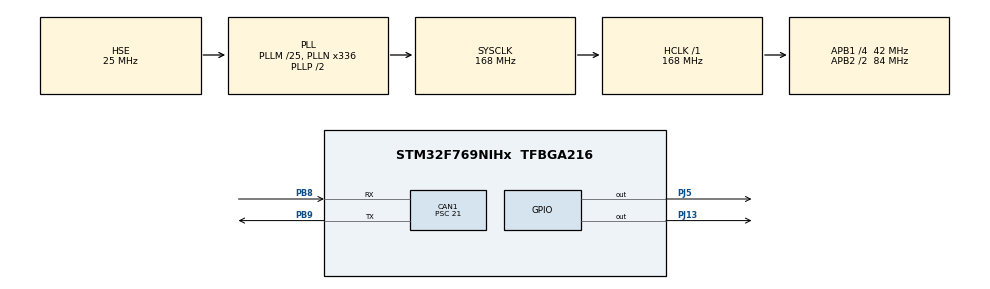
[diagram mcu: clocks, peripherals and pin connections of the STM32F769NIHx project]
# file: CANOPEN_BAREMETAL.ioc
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CAN1.BS1=CAN_BS1_14TQ
CAN1.BS2=CAN_BS2_5TQ
CAN1.CalculateBaudRate=100000
CAN1.CalculateTimeBit=10000
CAN1.CalculateTimeQuantum=500.0
CAN1.Prescaler=21
Mcu.Family=STM32F7
Mcu.Name=STM32F769NIHx
Mcu.Package=TFBGA216
NVIC.CAN1_RX0_IRQn=true\:0\:0\:false\:false\:true\:true\:true\:true
NVIC.CAN1_RX1_IRQn=true\:0\:0\:false\:false\:true\:true\:true\:true
NVIC.CAN1_SCE_IRQn=true\:0\:0\:false\:false\:true\:true\:true\:true
NVIC.CAN1_TX_IRQn=true\:0\:0\:false\:false\:true\:true\:true\:true
NVIC.PriorityGroup=NVIC_PRIORITYGROUP_4
NVIC.TIM8_TRG_COM_TIM14_IRQn=true\:0\:0\:false\:false\:true\:true\:true\:true
PB8.Mode=CAN_Activate
PB8.Signal=CAN1_RX
PB9.Mode=CAN_Activate
PB9.Signal=CAN1_TX
PH0/OSC_IN.Mode=HSE-External-Oscillator
PH0/OSC_IN.Signal=RCC_OSC_IN
PH1/OSC_OUT.Mode=HSE-External-Oscillator
PH1/OSC_OUT.Signal=RCC_OSC_OUT
PJ13.Signal=GPIO_Output
PJ5.Signal=GPIO_Output
ProjectManager.HeapSize=0x200
ProjectManager.StackSize=0x400
ProjectManager.TargetToolchain=STM32CubeIDE
RCC.AHBFreq_Value=168000000
RCC.APB1CLKDivider=RCC_HCLK_DIV4
RCC.APB1Freq_Value=42000000
RCC.APB1TimFreq_Value=84000000
RCC.APB2CLKDivider=RCC_HCLK_DIV2
RCC.APB2Freq_Value=84000000
RCC.APB2TimFreq_Value=168000000
RCC.CortexFreq_Value=168000000
RCC.HCLKFreq_Value=168000000
RCC.HSE_VALUE=25000000
RCC.HSI_VALUE=16000000
RCC.LSE_VALUE=32768
RCC.PLL48CLockSelection=RCC_CLK48SOURCE_PLLSAIP
RCC.PLLM=25
RCC.PLLN=336
RCC.PLLQ=4
RCC.PLLSAIP=RCC_PLLSAIP_DIV4
RCC.PLLSAIQ=3
RCC.PLLSourceVirtual=RCC_PLLSOURCE_HSE
RCC.SDMMC2ClockSelection=RCC_SDMMC2CLKSOURCE_CLK48
RCC.SYSCLKFreq_VALUE=168000000
RCC.SYSCLKSource=RCC_SYSCLKSOURCE_PLLCLK
RCC.USBFreq_Value=48000000
RCC.VCOOutputFreq_Value=336000000
TIM14.Period=1000
TIM14.Prescaler=83
VP_TIM14_VS_ClockSourceINT.Mode=Enable_Timer
board=STM32F769I-DISCO

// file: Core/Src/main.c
/* USER CODE BEGIN Header */
/**
  ******************************************************************************
  * @file           : main.c
  * @brief          : Main program body
  ******************************************************************************
  * @attention
  *
  * Copyright (c) 2025 STMicroelectronics.
  * All rights reserved.
  *
  * This software is licensed under terms that can be found in the LICENSE file
  * in the root directory of this software component.
  * If no LICENSE file comes with this software, it is provided AS-IS.
  *
  ******************************************************************************
  */
/* USER CODE END Header */
#include "main.h"

/* USER CODE BEGIN Includes */
  #include "CO_app_STM32.h"
/* USER CODE END Includes */

CAN_HandleTypeDef hcan1;

TIM_HandleTypeDef htim14;

void SystemClock_Config(void);
static void MX_GPIO_Init(void);
static void MX_CAN1_Init(void);
static void MX_TIM14_Init(void);

int main(void)
{

  /* MCU Configuration--------------------------------------------------------*/

  /* Reset of all peripherals, Initializes the Flash interface and the Systick. */
  HAL_Init();

  /* Configure the system clock */
  SystemClock_Config();

  /* Initialize all configured peripherals */
  MX_GPIO_Init();
  MX_CAN1_Init();
  MX_TIM14_Init();
  /* USER CODE BEGIN 2 */
  CANopenNodeSTM32 canOpenNodeSTM32;
  canOpenNodeSTM32.CANHandle = &hcan1;
  canOpenNodeSTM32.HWInitFunction = MX_CAN1_Init;
  canOpenNodeSTM32.timerHandle = &htim14;
  canOpenNodeSTM32.desiredNodeID = 1;
  canOpenNodeSTM32.baudrate = 100;
  canopen_app_init(&canOpenNodeSTM32);
  /* USER CODE END 2 */

  /* Infinite loop */
  while (1)
  {
		HAL_GPIO_WritePin(GPIOJ, GPIO_PIN_5, canOpenNodeSTM32.outStatusLEDGreen);
		HAL_GPIO_WritePin(GPIOJ, GPIO_PIN_13, canOpenNodeSTM32.outStatusLEDRed);
	  canopen_app_process();
  }
}

void SystemClock_Config(void)
{
  RCC_OscInitTypeDef RCC_OscInitStruct = {0};
  RCC_ClkInitTypeDef RCC_ClkInitStruct = {0};

  /** Configure the main internal regulator output voltage
  */
  __HAL_RCC_PWR_CLK_ENABLE();
  __HAL_PWR_VOLTAGESCALING_CONFIG(PWR_REGULATOR_VOLTAGE_SCALE2);

  /** Initializes the RCC Oscillators according to the specified parameters
  * in the RCC_OscInitTypeDef structure.
  */
  RCC_OscInitStruct.OscillatorType = RCC_OSCILLATORTYPE_HSE;
  RCC_OscInitStruct.HSEState = RCC_HSE_ON;
  RCC_OscInitStruct.PLL.PLLState = RCC_PLL_ON;
  RCC_OscInitStruct.PLL.PLLSource = RCC_PLLSOURCE_HSE;
  RCC_OscInitStruct.PLL.PLLM = 25;
  RCC_OscInitStruct.PLL.PLLN = 336;
  RCC_OscInitStruct.PLL.PLLP = RCC_PLLP_DIV2;
  RCC_OscInitStruct.PLL.PLLQ = 4;
  RCC_OscInitStruct.PLL.PLLR = 2;
  if (HAL_RCC_OscConfig(&RCC_OscInitStruct) != HAL_OK)
  {
    Error_Handler();
  }

  /** Initializes the CPU, AHB and APB buses clocks
  */
  RCC_ClkInitStruct.ClockType = RCC_CLOCKTYPE_HCLK|RCC_CLOCKTYPE_SYSCLK
                              |RCC_CLOCKTYPE_PCLK1|RCC_CLOCKTYPE_PCLK2;
  RCC_ClkInitStruct.SYSCLKSource = RCC_SYSCLKSOURCE_PLLCLK;
  RCC_ClkInitStruct.AHBCLKDivider = RCC_SYSCLK_DIV1;
  RCC_ClkInitStruct.APB1CLKDivider = RCC_HCLK_DIV4;
  RCC_ClkInitStruct.APB2CLKDivider = RCC_HCLK_DIV2;

  if (HAL_RCC_ClockConfig(&RCC_ClkInitStruct, FLASH_LATENCY_5) != HAL_OK)
  {
    Error_Handler();
  }
}

static void MX_CAN1_Init(void)
{

  hcan1.Instance = CAN1;
  hcan1.Init.Prescaler = 21;
  hcan1.Init.Mode = CAN_MODE_LOOPBACK;
  hcan1.Init.SyncJumpWidth = CAN_SJW_1TQ;
  hcan1.Init.TimeSeg1 = CAN_BS1_14TQ;
  hcan1.Init.TimeSeg2 = CAN_BS2_5TQ;
  hcan1.Init.TimeTriggeredMode = DISABLE;
  hcan1.Init.AutoBusOff = DISABLE;
  hcan1.Init.AutoWakeUp = DISABLE;
  hcan1.Init.AutoRetransmission = DISABLE;
  hcan1.Init.ReceiveFifoLocked = DISABLE;
  hcan1.Init.TransmitFifoPriority = DISABLE;
  if (HAL_CAN_Init(&hcan1) != HAL_OK)
  {
    Error_Handler();
  }

}

static void MX_TIM14_Init(void)
{

  htim14.Instance = TIM14;
  htim14.Init.Prescaler = 83;
  htim14.Init.CounterMode = TIM_COUNTERMODE_UP;
  htim14.Init.Period = 1000;
  htim14.Init.ClockDivision = TIM_CLOCKDIVISION_DIV1;
  htim14.Init.AutoReloadPreload = TIM_AUTORELOAD_PRELOAD_DISABLE;
  if (HAL_TIM_Base_Init(&htim14) != HAL_OK)
  {
    Error_Handler();
  }

}

static void MX_GPIO_Init(void)
{
  GPIO_InitTypeDef GPIO_InitStruct = {0};

  /* GPIO Ports Clock Enable */
  __HAL_RCC_GPIOB_CLK_ENABLE();
  __HAL_RCC_GPIOJ_CLK_ENABLE();
  __HAL_RCC_GPIOH_CLK_ENABLE();

  /*Configure GPIO pin Output Level */
  HAL_GPIO_WritePin(GPIOJ, GPIO_PIN_13|GPIO_PIN_5, GPIO_PIN_RESET);

  /*Configure GPIO pins : PJ13 PJ5 */
  GPIO_InitStruct.Pin = GPIO_PIN_13|GPIO_PIN_5;
  GPIO_InitStruct.Mode = GPIO_MODE_OUTPUT_PP;
  GPIO_InitStruct.Pull = GPIO_NOPULL;
  GPIO_InitStruct.Speed = GPIO_SPEED_FREQ_LOW;
  HAL_GPIO_Init(GPIOJ, &GPIO_InitStruct);

}

/* USER CODE BEGIN 4 */

void HAL_TIM_PeriodElapsedCallback(TIM_HandleTypeDef *htim)
{
  /* USER CODE BEGIN Callback 0 */

  /* USER CODE END Callback 0 */

  /* USER CODE BEGIN Callback 1 */
  // Handle CANOpen app interrupts
  if (htim == canopenNodeSTM32->timerHandle) {
      canopen_app_interrupt();
  }
  /* USER CODE END Callback 1 */
}

__STATIC_INLINE uint32_t My_ITM_SendChar (uint32_t ch)
{
	if (((ITM->TCR & ITM_TCR_ITMENA_Msk) != 0UL) &&      /* ITM enabled */
			((ITM->TER & 1UL               ) != 0UL)   )     /* ITM Port #0 enabled */
	{
		while (ITM->PORT[0].u32 == 0UL)
		{
			__NOP();
		}
		ITM->PORT[0].u8 = (uint8_t)ch;
	}
	return (ch);
}

int _write(int file, char *ptr, int len) {
	int i;
	for(i = 0; i < len; i++) {
		My_ITM_SendChar(*ptr++);
	}
	return len;
}
/* USER CODE END 4 */

void Error_Handler(void)
{
  __disable_irq();
  while (1)
  {
  }
}
